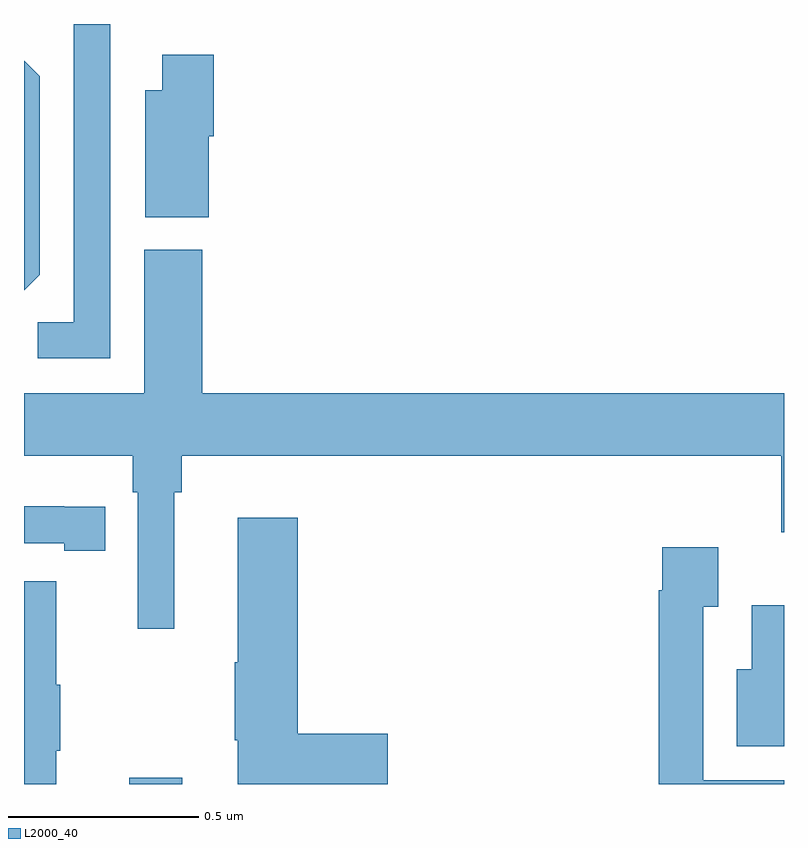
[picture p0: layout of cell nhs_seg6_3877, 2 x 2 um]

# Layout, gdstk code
import gdstk
lib = gdstk.Library(unit=1e-6, precision=1e-09)
def R(c, l, rs):  # rectangles x0, y0, x1, y1
    for r in rs: c.add(gdstk.rectangle(r[:2], r[2:], *l))
def P(c, l, *ps):  # polygons
    for p in ps: c.add(gdstk.Polygon(p, *l))
L2000_40 = (2000, 40)

nhs_seg6_3877 = lib.new_cell('nhs_seg6_3877')
R(nhs_seg6_3877, L2000_40, [(163.277,918.5,163.417,918.517)])
P(nhs_seg6_3877, L2000_40, [(163.227,920.5),(163.131,920.5),(163.131,919.715),(163.036,919.715),(163.036,919.62),(163.227,919.62)],
  [(163.486,920.205),(163.499,920.205),(163.499,920.419),(163.364,920.419),(163.364,920.326),(163.319,920.326),(163.319,919.991),(163.486,919.991)],
  [(163.041,919.84),(163.041,920.362),(163,920.403),(163,919.799)],
  [(163.396,919.268),(163.415,919.268),(163.415,919.364),(164.993,919.364),(164.993,919.162),(165,919.162),(165,919.528),(163.469,919.528),(163.469,919.906),(163.316,919.906),(163.316,919.528),(163,919.528),(163,919.364),(163.286,919.364),(163.286,919.268),(163.299,919.268),(163.299,918.909),(163.396,918.909)],
  [(163.214,919.23),(163.106,919.23),(163.106,919.231),(163,919.231),(163,919.134),(163.106,919.134),(163.106,919.114),(163.214,919.114)],
  [(163.957,918.632),(163.721,918.632),(163.721,919.201),(163.562,919.201),(163.562,918.821),(163.555,918.821),(163.555,918.615),(163.562,918.615),(163.562,918.5),(163.957,918.5)],
  [(165,918.51),(164.787,918.51),(164.787,918.967),(164.827,918.967),(164.827,919.123),(164.679,919.123),(164.679,919.01),(164.671,919.01),(164.671,918.5),(165,918.5)],
  [(163.085,918.587),(163.096,918.587),(163.096,918.761),(163.085,918.761),(163.085,919.033),(163,919.033),(163,918.5),(163.085,918.5)],
  [(165,918.97),(164.915,918.97),(164.915,918.802),(164.876,918.802),(164.876,918.599),(165,918.599)])

lib.write_gds('nhs_seg6_3877.gds')
